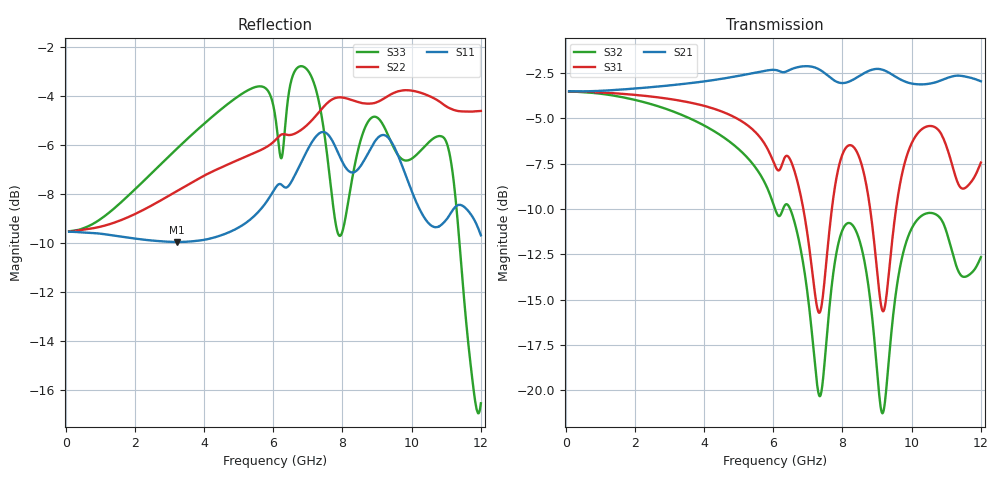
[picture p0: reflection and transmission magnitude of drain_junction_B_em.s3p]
! Drain junction EM block, variant B: taper 4.5 mm -> OW0 over 2.5 mm, then tee. Momentum 2026-10-16, fr4_1p52, TML ports, no flange
! Built-in geometry: start width 4.5 mm, OLPin=2.5 mm, OW0=9.29274 mm, OWb=2.01989 mm
! Ports: 1 = RF_drain (4.5 mm end), 2 = main line (to TL1), 3 = bias branch (to drain_bias X2). 0 Hz row = ideal DC junction
# Hz S RI R 50
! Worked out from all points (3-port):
!   517 points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, 100 MHz to 12 GHz, reference 50 ohm
!   strongest paths, dB at 100 MHz, 6.038 GHz, 7.909 GHz, 10.28 GHz, 12 GHz:
!     S21: -3.5, -2.3, -3.0, -3.1, -3.0
!     S31: -3.5, -7.6, -7.5, -5.6, -7.4
!     S32: -3.5, -9.9, -11.7, -10.4, -12.7
!   lowest |S11| = -10.0 dB at 3.217 GHz (marker M1), VSWR 1.93, Z = 25.9 - j0.0952 ohm
!   |S11| at or under -10 dB: nowhere
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1e8  -0.3332 0.00125  0.6666 -0.0111  0.6663 -0.0144
     0.6666 -0.0111  -0.3334 -0.00386  0.6663 -0.00924
     0.6663 -0.0144  0.6663 -0.00924  -0.3339 -0.000639
3.217323e9  -0.3175 -0.00165  0.5867 -0.3748  0.4685 -0.4226
            0.5867 -0.3748  -0.3852 -0.1194  0.5176 -0.2652
            0.4685 -0.4226  0.5176 -0.2652  -0.4845 0.0876
6.05e9  -0.407 -0.0322  0.318 -0.695  -0.0013 -0.4165
        0.318 -0.695  -0.4891 -0.15  0.1709 -0.2663
        -0.0013 -0.4165  0.1709 -0.2663  -0.1297 0.5625
6.938368e9  -0.4817 0.00503  0.183 -0.761  -0.1058 -0.2691
            0.183 -0.761  -0.5308 -0.1318  0.062 -0.1914
            -0.1058 -0.2691  0.062 -0.1914  0.2509 0.6734
7.806076e9  -0.4575 0.188  0.0311 -0.7103  0.1748 -0.3328
            0.0311 -0.7103  -0.6207 -0.0722  0.2318 -0.0295
            0.1748 -0.3328  0.2318 -0.0295  0.0806 -0.3357
8.749537e9  -0.4467 0.1841  -0.0399 -0.7578  -0.1672 -0.2972
            -0.0399 -0.7578  -0.6082 -0.00268  0.1122 -0.1584
            -0.1672 -0.2972  0.1122 -0.1584  0.00685 0.56
9.227006e9  -0.4291 0.301  -0.147 -0.7466  0.0143 -0.1698
            -0.147 -0.7466  -0.6249 0.00233  0.0924 -0.00871
            0.0143 -0.1698  0.0924 -0.00871  0.5338 0.0902
9.750386e9  -0.2896 0.3432  -0.2072 -0.6829  0.1078 -0.3915
            -0.2072 -0.6829  -0.6462 0.0404  0.2366 0.0303
            0.1078 -0.3915  0.2366 0.0303  0.0641 -0.4628
1.057848e10  -0.2061 0.2735  -0.2612 -0.6519  -0.1936 -0.4989
             -0.2612 -0.6519  -0.6203 0.0921  0.2891 -0.1067
             -0.1936 -0.4989  0.2891 -0.1067  -0.5131 0.0194
1.2e10  -0.0529 0.3233  -0.4644 -0.5387  -0.2435 -0.3477
        -0.4644 -0.5387  -0.5819 0.0824  0.2191 -0.0789
        -0.2435 -0.3477  0.2191 -0.0789  -0.0869 0.1207
